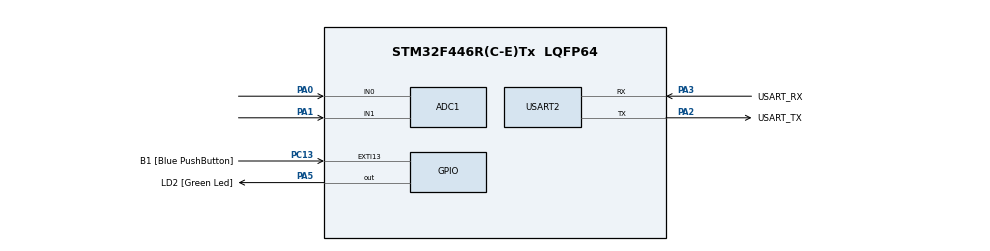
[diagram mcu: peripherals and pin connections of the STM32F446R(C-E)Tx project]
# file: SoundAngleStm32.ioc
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ADC1.Channel-0\#ChannelRegularConversion=ADC_CHANNEL_0
ADC1.Channel-1\#ChannelRegularConversion=ADC_CHANNEL_1
ADC1.ContinuousConvMode=DISABLE
ADC1.DMAContinuousRequests=ENABLE
ADC1.EOCSelection=ADC_EOC_SEQ_CONV
ADC1.ExternalTrigConv=ADC_EXTERNALTRIGCONV_T2_TRGO
ADC1.NbrOfConversion=2
ADC1.NbrOfConversionFlag=1
ADC1.Rank-0\#ChannelRegularConversion=1
ADC1.Rank-1\#ChannelRegularConversion=2
ADC1.SamplingTime-0\#ChannelRegularConversion=ADC_SAMPLETIME_3CYCLES
ADC1.SamplingTime-1\#ChannelRegularConversion=ADC_SAMPLETIME_3CYCLES
ADC1.ScanConvMode=ENABLE
ADC1.master=1
Dma.ADC1.0.Direction=DMA_PERIPH_TO_MEMORY
Dma.ADC1.0.FIFOMode=DMA_FIFOMODE_DISABLE
Dma.ADC1.0.Instance=DMA2_Stream0
Dma.ADC1.0.MemDataAlignment=DMA_MDATAALIGN_HALFWORD
Dma.ADC1.0.MemInc=DMA_MINC_ENABLE
Dma.ADC1.0.Mode=DMA_CIRCULAR
Dma.ADC1.0.PeriphDataAlignment=DMA_PDATAALIGN_HALFWORD
Dma.ADC1.0.PeriphInc=DMA_PINC_DISABLE
Dma.ADC1.0.Priority=DMA_PRIORITY_LOW
Dma.Request0=ADC1
Mcu.Family=STM32F4
Mcu.Name=STM32F446R(C-E)Tx
Mcu.Package=LQFP64
NVIC.DMA2_Stream0_IRQn=true\:0\:0\:false\:false\:true\:false\:true
NVIC.PriorityGroup=NVIC_PRIORITYGROUP_0
PA0-WKUP.Signal=ADCx_IN0
PA1.Signal=ADCx_IN1
PA13.GPIO_Label=TMS
PA13.Signal=SYS_JTMS-SWDIO
PA14.GPIO_Label=TCK
PA14.Signal=SYS_JTCK-SWCLK
PA2.GPIO_Label=USART_TX
PA2.Mode=Asynchronous
PA2.Signal=USART2_TX
PA3.GPIO_Label=USART_RX
PA3.Mode=Asynchronous
PA3.Signal=USART2_RX
PA5.GPIO_Label=LD2 [Green Led]
PA5.Signal=GPIO_Output
PB3.GPIO_Label=SWO
PB3.Signal=SYS_JTDO-SWO
PC13.GPIO_Label=B1 [Blue PushButton]
PC13.GPIO_ModeDefaultEXTI=GPIO_MODE_IT_FALLING
PC13.Signal=GPXTI13
PC14-OSC32_IN.Mode=LSE-External-Oscillator
PC14-OSC32_IN.Signal=RCC_OSC32_IN
PC15-OSC32_OUT.Mode=LSE-External-Oscillator
PC15-OSC32_OUT.Signal=RCC_OSC32_OUT
PH0-OSC_IN.Signal=RCC_OSC_IN
PH1-OSC_OUT.Signal=RCC_OSC_OUT
ProjectManager.HeapSize=0x200
ProjectManager.StackSize=0x400
ProjectManager.TargetToolchain=SW4STM32
RCC.AHBFreq_Value=180000000
RCC.APB1CLKDivider=RCC_HCLK_DIV4
RCC.APB1Freq_Value=45000000
RCC.APB1TimFreq_Value=90000000
RCC.APB2CLKDivider=RCC_HCLK_DIV2
RCC.APB2Freq_Value=90000000
RCC.APB2TimFreq_Value=180000000
RCC.CortexFreq_Value=180000000
RCC.FLatency-AdvancedSettings=FLASH_LATENCY_5
RCC.HCLKFreq_Value=180000000
RCC.HSE_VALUE=8000000
RCC.HSI_VALUE=16000000
RCC.PLLM=8
RCC.PLLN=180
RCC.SYSCLKFreq_VALUE=180000000
RCC.SYSCLKSource=RCC_SYSCLKSOURCE_PLLCLK
RCC.USBFreq_Value=180000000
RCC.VCOOutputFreq_Value=360000000
SH.ADCx_IN0.0=ADC1_IN0,IN0
SH.ADCx_IN1.0=ADC1_IN1,IN1
TIM2.Period=49
TIM2.Prescaler=89
TIM2.TIM_MasterOutputTrigger=TIM_TRGO_UPDATE
USART2.VirtualMode=VM_ASYNC
VP_TIM2_VS_ClockSourceINT.Mode=Internal
board=NUCLEO-F446RE

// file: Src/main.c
/* USER CODE BEGIN Header */
/**
  ******************************************************************************
  * @file           : main.c
  * @brief          : Main program body
  ******************************************************************************
  * @attention
  *
  * <h2><center>&copy; Copyright (c) 2019 STMicroelectronics.
  * All rights reserved.</center></h2>
  *
  * This software component is licensed by ST under BSD 3-Clause license,
  * the "License"; You may not use this file except in compliance with the
  * License. You may obtain a copy of the License at:
  *                        opensource.org/licenses/BSD-3-Clause
  *
  ******************************************************************************
  */
/* USER CODE END Header */

#include "main.h"

/* USER CODE BEGIN Includes */
#include "audio_locator.h"
#include "signal_generator.h"
#include "audio_acquisition.h"

/* USER CODE END Includes */

UART_HandleTypeDef huart2;

/* USER CODE BEGIN PV */
extern uint32_t counter;
/* USER CODE END PV */

void SystemClock_Config(void);
static void MX_GPIO_Init(void);
static void MX_DMA_Init(void);
static void MX_ADC1_Init(void);
static void MX_TIM2_Init(void);
static void MX_USART2_UART_Init(void);

int main(void)
{

  /* MCU Configuration--------------------------------------------------------*/

  /* Reset of all peripherals, Initializes the Flash interface and the Systick. */
  HAL_Init();

  /* Configure the system clock */
  SystemClock_Config();

  /* Initialize all configured peripherals */
  MX_GPIO_Init();
  MX_DMA_Init();
  MX_ADC1_Init();
  MX_TIM2_Init();
  MX_USART2_UART_Init();
  /* USER CODE BEGIN 2 */
  AA_init();
  ComplexBuffer ref_signal;
  ref_signal =  ComplexBuffer_generate();

  /* USER CODE END 2 */

  /* Infinite loop */
  /* USER CODE BEGIN WHILE */

  while (1)
  {
	  if(AA_get_state() == DATA_STATUS_NEW)
	  {
		  AudioBuffer* audio_buff = AA_get_buffer();
		  float mag = AL_get_magnitude(&ref_signal, audio_buff);
		  Complex cmpl = AL_goertzel(audio_buff->ch_left_samples);
		  float mag2 = cmpl_get_mag(cmpl);
		  cmpl = AL_goertzel(audio_buff->ch_right_samples);
		  mag2 += cmpl_get_mag(cmpl);

		  float direction = AL_get_angle(&ref_signal, audio_buff);

		  uint8_t tx_buff[16];
		  uint32_t tx_len;
		  if(mag < 50) direction = 0;
		  tx_len = sprintf(tx_buff, "$%f %f;", mag, mag2);
		  HAL_UART_Transmit(&huart2, tx_buff, tx_len, 100);
		  /*for(int i=0;i<SAMPLE_BUFFER_LEN; i++)
		  {
			  uint8_t tx_buff[16];
			  uint32_t tx_len;
			  tx_len = sprintf(tx_buff, "$%f %f;", audio_buff->ch_left_samples[i], audio_buff->ch_right_samples[i]);
			  HAL_UART_Transmit(&huart2, tx_buff, tx_len, 100);
		  }*/
		  AA_release_buffer();
	  }
    /* USER CODE END WHILE */

  }
}

void SystemClock_Config(void)
{
  LL_FLASH_SetLatency(LL_FLASH_LATENCY_5);

  if(LL_FLASH_GetLatency() != LL_FLASH_LATENCY_5)
  {
  Error_Handler();
  }
  LL_PWR_SetRegulVoltageScaling(LL_PWR_REGU_VOLTAGE_SCALE1);
  LL_PWR_EnableOverDriveMode();
  LL_RCC_HSI_SetCalibTrimming(16);
  LL_RCC_HSI_Enable();

   /* Wait till HSI is ready */
  while(LL_RCC_HSI_IsReady() != 1)
  {

  }
  LL_RCC_PLL_ConfigDomain_SYS(LL_RCC_PLLSOURCE_HSI, LL_RCC_PLLM_DIV_8, 180, LL_RCC_PLLP_DIV_2);
  LL_RCC_PLL_Enable();

   /* Wait till PLL is ready */
  while(LL_RCC_PLL_IsReady() != 1)
  {

  }
  LL_RCC_SetAHBPrescaler(LL_RCC_SYSCLK_DIV_1);
  LL_RCC_SetAPB1Prescaler(LL_RCC_APB1_DIV_4);
  LL_RCC_SetAPB2Prescaler(LL_RCC_APB2_DIV_2);
  LL_RCC_SetSysClkSource(LL_RCC_SYS_CLKSOURCE_PLL);

   /* Wait till System clock is ready */
  while(LL_RCC_GetSysClkSource() != LL_RCC_SYS_CLKSOURCE_STATUS_PLL)
  {

  }
  LL_Init1msTick(180000000);
  LL_SYSTICK_SetClkSource(LL_SYSTICK_CLKSOURCE_HCLK);
  LL_SetSystemCoreClock(180000000);
  LL_RCC_SetTIMPrescaler(LL_RCC_TIM_PRESCALER_TWICE);
}

static void MX_ADC1_Init(void)
{

  LL_ADC_InitTypeDef ADC_InitStruct = {0};
  LL_ADC_REG_InitTypeDef ADC_REG_InitStruct = {0};
  LL_ADC_CommonInitTypeDef ADC_CommonInitStruct = {0};

  LL_GPIO_InitTypeDef GPIO_InitStruct = {0};

  /* Peripheral clock enable */
  LL_APB2_GRP1_EnableClock(LL_APB2_GRP1_PERIPH_ADC1);

  LL_AHB1_GRP1_EnableClock(LL_AHB1_GRP1_PERIPH_GPIOA);
  /**ADC1 GPIO Configuration
  PA0-WKUP   ------> ADC1_IN0
  PA1   ------> ADC1_IN1
  */
  GPIO_InitStruct.Pin = LL_GPIO_PIN_0|LL_GPIO_PIN_1;
  GPIO_InitStruct.Mode = LL_GPIO_MODE_ANALOG;
  GPIO_InitStruct.Pull = LL_GPIO_PULL_NO;
  LL_GPIO_Init(GPIOA, &GPIO_InitStruct);

  /* ADC1 DMA Init */

  /* ADC1 Init */
  LL_DMA_SetChannelSelection(DMA2, LL_DMA_STREAM_0, LL_DMA_CHANNEL_0);

  LL_DMA_SetDataTransferDirection(DMA2, LL_DMA_STREAM_0, LL_DMA_DIRECTION_PERIPH_TO_MEMORY);

  LL_DMA_SetStreamPriorityLevel(DMA2, LL_DMA_STREAM_0, LL_DMA_PRIORITY_LOW);

  LL_DMA_SetMode(DMA2, LL_DMA_STREAM_0, LL_DMA_MODE_CIRCULAR);

  LL_DMA_SetPeriphIncMode(DMA2, LL_DMA_STREAM_0, LL_DMA_PERIPH_NOINCREMENT);

  LL_DMA_SetMemoryIncMode(DMA2, LL_DMA_STREAM_0, LL_DMA_MEMORY_INCREMENT);

  LL_DMA_SetPeriphSize(DMA2, LL_DMA_STREAM_0, LL_DMA_PDATAALIGN_HALFWORD);

  LL_DMA_SetMemorySize(DMA2, LL_DMA_STREAM_0, LL_DMA_MDATAALIGN_HALFWORD);

  LL_DMA_DisableFifoMode(DMA2, LL_DMA_STREAM_0);

  /** Common config
  */
  ADC_InitStruct.Resolution = LL_ADC_RESOLUTION_12B;
  ADC_InitStruct.DataAlignment = LL_ADC_DATA_ALIGN_RIGHT;
  ADC_InitStruct.SequencersScanMode = LL_ADC_SEQ_SCAN_ENABLE;
  LL_ADC_Init(ADC1, &ADC_InitStruct);
  ADC_REG_InitStruct.TriggerSource = LL_ADC_REG_TRIG_EXT_TIM2_TRGO;
  ADC_REG_InitStruct.SequencerLength = LL_ADC_REG_SEQ_SCAN_ENABLE_2RANKS;
  ADC_REG_InitStruct.SequencerDiscont = LL_ADC_REG_SEQ_DISCONT_DISABLE;
  ADC_REG_InitStruct.ContinuousMode = LL_ADC_REG_CONV_SINGLE;
  ADC_REG_InitStruct.DMATransfer = LL_ADC_REG_DMA_TRANSFER_UNLIMITED;
  LL_ADC_REG_Init(ADC1, &ADC_REG_InitStruct);
  LL_ADC_REG_SetFlagEndOfConversion(ADC1, LL_ADC_REG_FLAG_EOC_SEQUENCE_CONV);
  LL_ADC_DisableIT_EOCS(ADC1);
  ADC_CommonInitStruct.CommonClock = LL_ADC_CLOCK_SYNC_PCLK_DIV4;
  ADC_CommonInitStruct.Multimode = LL_ADC_MULTI_INDEPENDENT;
  LL_ADC_CommonInit(__LL_ADC_COMMON_INSTANCE(ADC1), &ADC_CommonInitStruct);
  LL_ADC_REG_StartConversionExtTrig(ADC1, LL_ADC_REG_TRIG_EXT_RISING);
  /** Configure Regular Channel
  */
  LL_ADC_REG_SetSequencerRanks(ADC1, LL_ADC_REG_RANK_1, LL_ADC_CHANNEL_0);
  LL_ADC_SetChannelSamplingTime(ADC1, LL_ADC_CHANNEL_0, LL_ADC_SAMPLINGTIME_3CYCLES);
  /** Configure Regular Channel
  */
  LL_ADC_REG_SetSequencerRanks(ADC1, LL_ADC_REG_RANK_2, LL_ADC_CHANNEL_1);
  LL_ADC_SetChannelSamplingTime(ADC1, LL_ADC_CHANNEL_1, LL_ADC_SAMPLINGTIME_3CYCLES);

}

static void MX_TIM2_Init(void)
{

  LL_TIM_InitTypeDef TIM_InitStruct = {0};

  /* Peripheral clock enable */
  LL_APB1_GRP1_EnableClock(LL_APB1_GRP1_PERIPH_TIM2);

  TIM_InitStruct.Prescaler = 89;
  TIM_InitStruct.CounterMode = LL_TIM_COUNTERMODE_UP;
  TIM_InitStruct.Autoreload = 49;
  TIM_InitStruct.ClockDivision = LL_TIM_CLOCKDIVISION_DIV1;
  LL_TIM_Init(TIM2, &TIM_InitStruct);
  LL_TIM_DisableARRPreload(TIM2);
  LL_TIM_SetClockSource(TIM2, LL_TIM_CLOCKSOURCE_INTERNAL);
  LL_TIM_SetTriggerOutput(TIM2, LL_TIM_TRGO_UPDATE);
  LL_TIM_DisableMasterSlaveMode(TIM2);

}

static void MX_USART2_UART_Init(void)
{

  huart2.Instance = USART2;
  huart2.Init.BaudRate = 115200;
  huart2.Init.WordLength = UART_WORDLENGTH_8B;
  huart2.Init.StopBits = UART_STOPBITS_1;
  huart2.Init.Parity = UART_PARITY_NONE;
  huart2.Init.Mode = UART_MODE_TX_RX;
  huart2.Init.HwFlowCtl = UART_HWCONTROL_NONE;
  huart2.Init.OverSampling = UART_OVERSAMPLING_16;
  if (HAL_UART_Init(&huart2) != HAL_OK)
  {
    Error_Handler();
  }

}

static void MX_DMA_Init(void)
{
  /* Init with LL driver */
  /* DMA controller clock enable */
  LL_AHB1_GRP1_EnableClock(LL_AHB1_GRP1_PERIPH_DMA2);

  /* DMA interrupt init */
  /* DMA2_Stream0_IRQn interrupt configuration */
  NVIC_SetPriority(DMA2_Stream0_IRQn, NVIC_EncodePriority(NVIC_GetPriorityGrouping(),0, 0));
  NVIC_EnableIRQ(DMA2_Stream0_IRQn);

}

static void MX_GPIO_Init(void)
{
  LL_EXTI_InitTypeDef EXTI_InitStruct = {0};
  LL_GPIO_InitTypeDef GPIO_InitStruct = {0};

  /* GPIO Ports Clock Enable */
  LL_AHB1_GRP1_EnableClock(LL_AHB1_GRP1_PERIPH_GPIOC);
  LL_AHB1_GRP1_EnableClock(LL_AHB1_GRP1_PERIPH_GPIOH);
  LL_AHB1_GRP1_EnableClock(LL_AHB1_GRP1_PERIPH_GPIOA);
  LL_AHB1_GRP1_EnableClock(LL_AHB1_GRP1_PERIPH_GPIOB);

  /**/
  LL_GPIO_ResetOutputPin(LD2_GPIO_Port, LD2_Pin);

  /**/
  LL_SYSCFG_SetEXTISource(LL_SYSCFG_EXTI_PORTC, LL_SYSCFG_EXTI_LINE13);

  /**/
  EXTI_InitStruct.Line_0_31 = LL_EXTI_LINE_13;
  EXTI_InitStruct.LineCommand = ENABLE;
  EXTI_InitStruct.Mode = LL_EXTI_MODE_IT;
  EXTI_InitStruct.Trigger = LL_EXTI_TRIGGER_FALLING;
  LL_EXTI_Init(&EXTI_InitStruct);

  /**/
  LL_GPIO_SetPinPull(B1_GPIO_Port, B1_Pin, LL_GPIO_PULL_NO);

  /**/
  LL_GPIO_SetPinMode(B1_GPIO_Port, B1_Pin, LL_GPIO_MODE_INPUT);

  /**/
  GPIO_InitStruct.Pin = LD2_Pin;
  GPIO_InitStruct.Mode = LL_GPIO_MODE_OUTPUT;
  GPIO_InitStruct.Speed = LL_GPIO_SPEED_FREQ_LOW;
  GPIO_InitStruct.OutputType = LL_GPIO_OUTPUT_PUSHPULL;
  GPIO_InitStruct.Pull = LL_GPIO_PULL_NO;
  LL_GPIO_Init(LD2_GPIO_Port, &GPIO_InitStruct);

}

void Error_Handler(void)
{
}

/************************ (C) COPYRIGHT STMicroelectronics *****END OF FILE****/
